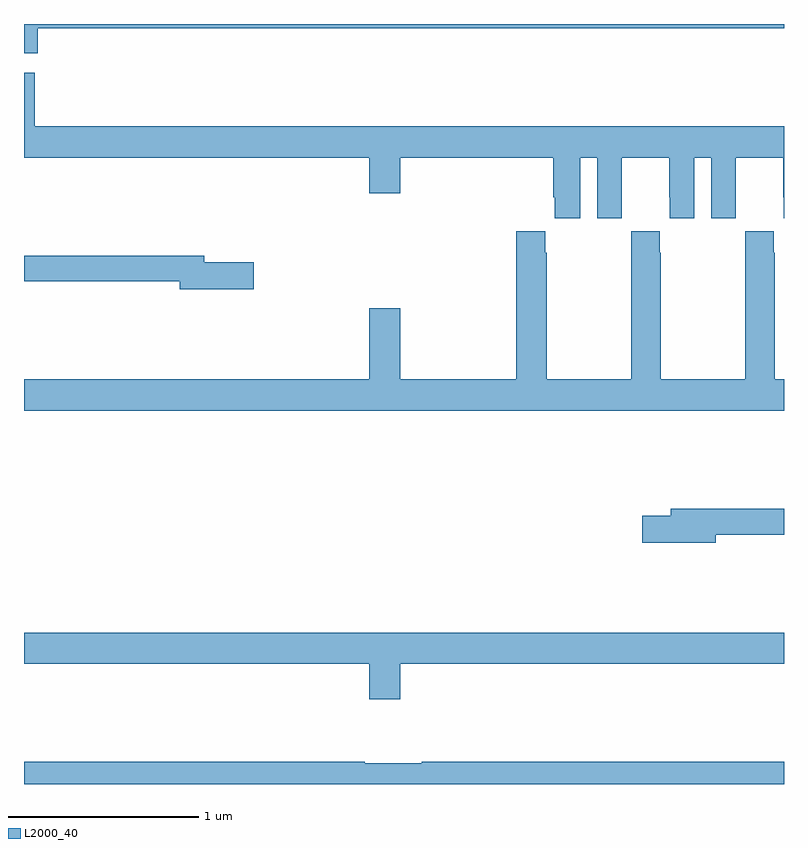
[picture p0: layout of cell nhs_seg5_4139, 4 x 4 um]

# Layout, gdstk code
import gdstk
lib = gdstk.Library(unit=1e-6, precision=1e-09)
def P(c, l, *ps):  # polygons
    for p in ps: c.add(gdstk.Polygon(p, *l))
L2000_40 = (2000, 40)

nhs_seg5_4139 = lib.new_cell('nhs_seg5_4139')
P(nhs_seg5_4139, L2000_40, [(355.072,854.776),(359,854.776),(359,854.799),(355,854.799),(355,854.645),(355.072,854.645)],
  [(357.928,854.096),(358.016,854.096),(358.016,853.776),(358.146,853.776),(358.146,853.888),(358.147,853.888),(358.147,854.096),(358.397,854.096),(358.397,853.888),(358.398,853.888),(358.398,853.776),(358.528,853.776),(358.528,854.096),(358.616,854.096),(358.616,853.776),(358.746,853.776),(358.746,853.888),(358.747,853.888),(358.747,854.096),(358.997,854.096),(358.997,853.888),(358.998,853.888),(358.998,853.776),(359,853.776),(359,854.26),(355.057,854.26),(355.057,854.542),(355,854.542),(355,854.096),(356.816,854.096),(356.816,853.908),(356.98,853.908),(356.98,854.096),(357.785,854.096),(357.785,853.888),(357.794,853.888),(357.794,853.776),(357.928,853.776)],
  [(359,852.928),(358.95,852.928),(358.95,853.595),(358.947,853.595),(358.947,853.708),(358.797,853.708),(358.797,853.595),(358.795,853.595),(358.795,852.928),(358.35,852.928),(358.35,853.595),(358.347,853.595),(358.347,853.708),(358.197,853.708),(358.197,853.595),(358.195,853.595),(358.195,852.928),(357.75,852.928),(357.75,853.595),(357.743,853.595),(357.743,853.708),(357.59,853.708),(357.59,852.928),(356.98,852.928),(356.98,853.303),(356.816,853.303),(356.816,852.928),(355,852.928),(355,852.764),(359,852.764)],
  [(356.209,853.544),(355.948,853.544),(355.948,853.58),(355,853.58),(355,853.444),(355.82,853.444),(355.82,853.402),(356.209,853.402)],
  [(358.642,852.112),(359,852.112),(359,852.248),(358.403,852.248),(358.403,852.212),(358.254,852.212),(358.254,852.07),(358.642,852.07)],
  [(356.98,851.432),(359,851.432),(359,851.596),(355,851.596),(355,851.432),(356.816,851.432),(356.816,851.244),(356.98,851.244)],
  [(359,850.916),(357.094,850.916),(357.094,850.909),(356.794,850.909),(356.794,850.916),(355,850.916),(355,850.799),(359,850.799)])

lib.write_gds('nhs_seg5_4139.gds')
